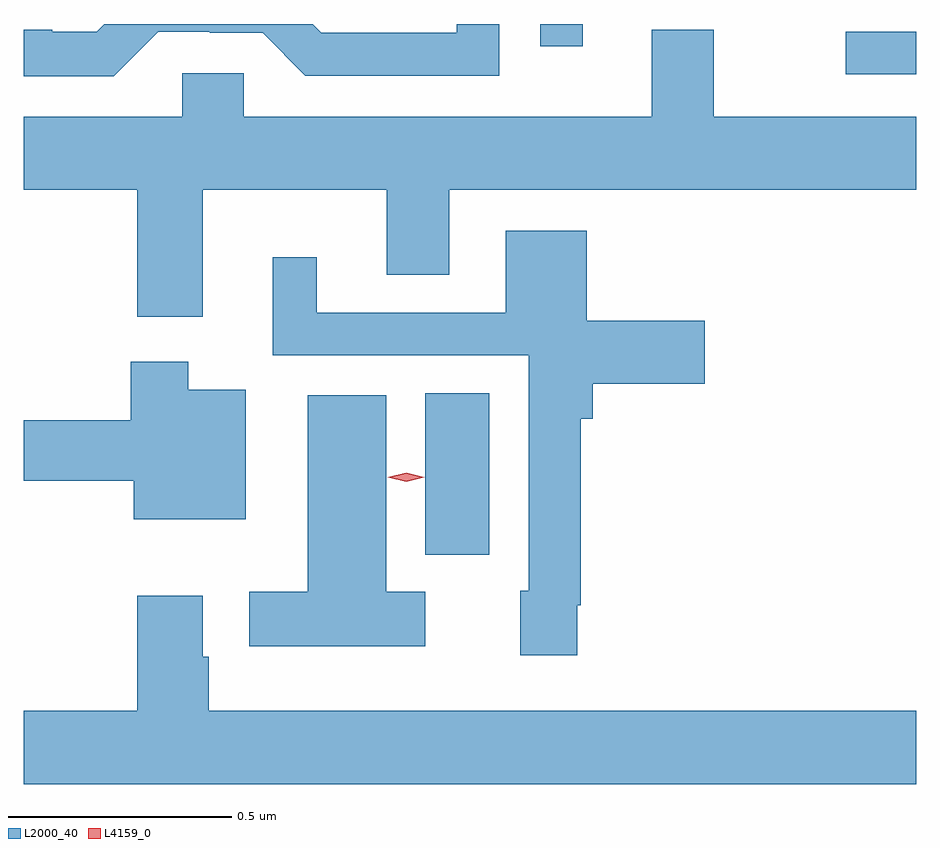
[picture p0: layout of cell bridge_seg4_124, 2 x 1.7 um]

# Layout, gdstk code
import gdstk
lib = gdstk.Library(unit=1e-6, precision=1e-09)
def R(c, l, rs):  # rectangles x0, y0, x1, y1
    for r in rs: c.add(gdstk.rectangle(r[:2], r[2:], *l))
def P(c, l, *ps):  # polygons
    for p in ps: c.add(gdstk.Polygon(p, *l))
L2000_40 = (2000, 40)
L4159_0 = (4159, 0)

bridge_seg4_124 = lib.new_cell('bridge_seg4_124')
R(bridge_seg4_124, L2000_40, [(250.154,817.314,250.297,817.676), (251.097,818.391,251.254,818.487), (250.411,818.454,250.507,818.504)])
P(bridge_seg4_124, L2000_40, [(249.555,818.487),(249.671,818.487),(249.671,818.484),(249.789,818.484),(249.885,818.388),(250.32,818.388),(250.32,818.504),(250.224,818.504),(250.224,818.484),(249.921,818.484),(249.901,818.504),(249.434,818.504),(249.417,818.487),(249.317,818.487),(249.317,818.491),(249.254,818.491),(249.254,818.387),(249.455,818.387)],
  [(249.655,818.132),(250.067,818.132),(250.067,817.942),(250.207,817.942),(250.207,818.132),(251.254,818.132),(251.254,818.296),(250.801,818.296),(250.801,818.491),(250.661,818.491),(250.661,818.296),(249.747,818.296),(249.747,818.394),(249.609,818.394),(249.609,818.296),(249.254,818.296),(249.254,818.132),(249.508,818.132),(249.508,817.848),(249.655,817.848)],
  [(250.495,817.201),(250.502,817.201),(250.502,817.619),(250.529,817.619),(250.529,817.697),(250.78,817.697),(250.78,817.839),(250.516,817.839),(250.516,818.041),(250.334,818.041),(250.334,817.857),(249.91,817.857),(249.91,817.981),(249.812,817.981),(249.812,817.761),(250.386,817.761),(250.386,817.233),(250.367,817.233),(250.367,817.089),(250.495,817.089)],
  [(249.751,817.684),(249.622,817.684),(249.622,817.747),(249.493,817.747),(249.493,817.616),(249.254,817.616),(249.254,817.48),(249.5,817.48),(249.5,817.394),(249.751,817.394)],
  [(250.154,817.231),(250.066,817.231),(250.066,817.672),(249.89,817.672),(249.89,817.231),(249.759,817.231),(249.759,817.109),(250.154,817.109)],
  [(251.254,816.964),(249.668,816.964),(249.668,817.085),(249.655,817.085),(249.655,817.222),(249.508,817.222),(249.508,816.964),(249.254,816.964),(249.254,816.8),(251.254,816.8)])
P(bridge_seg4_124, L4159_0, [(250.111,817.478),(250.07,817.488),(250.07,817.488),(250.07,817.488),(250.111,817.498),(250.151,817.488),(250.151,817.488),(250.151,817.488)])

lib.write_gds('bridge_seg4_124.gds')
